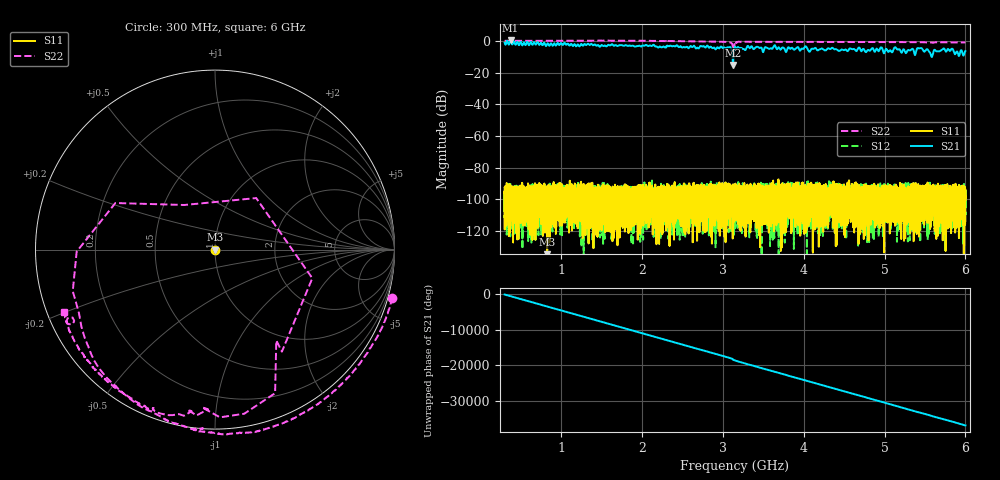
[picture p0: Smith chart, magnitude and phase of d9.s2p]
!Agilent Technologies,N5230C,SG49000117,A.08.50.07
!Agilent N5230C: A.08.50.07
!Date: Sunday, March 17, 2024 05:30:00
!Correction: S11(Off)
!S21(Off)
!S12(Off)
!S22(Full 1 Port(2))
!S2P File: Measurements: S11, S21, S12, S22:
# Hz S  RI  R 50
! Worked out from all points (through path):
!   20001 points, 300 MHz to 6 GHz, reference 50 ohm
!   highest |S21| = 0.44 dB at 373.8 MHz (marker M1); lowest = -15.1 dB at 3.127 GHz (marker M2)
!   lowest |S11| = -147.6 dB at 826.4 MHz (marker M3), VSWR 1.00, Z = 50 - j1.65e-06 ohm
!   |S11| at or under -10 dB: start of sweep to end of sweep
!   |S22| runs from -10.6 to 0.4 dB; largest |S21 - S12| = 1.1
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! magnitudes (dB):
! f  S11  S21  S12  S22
! 300 MHz  -96.0  -1.0  -106.1  0.2
! 373.8 MHz  -101.6  0.4  -98.9  0.2
! 826.4 MHz  -147.6  -1.8  -99.7  0.2
! 1.25 GHz  -98.0  -1.8  -97.0  0.3
! 2.2 GHz  -98.7  -4.1  -98.6  0.2
! 3.073 GHz  -112.1  -3.9  -99.8  -0.6
! 3.127 GHz  -105.3  -15.1  -101.8  -10.1
! 3.15 GHz  -97.0  -3.5  -97.4  -0.6
! 3.164 GHz  -107.9  -4.6  -99.1  -0.7
! 3.212 GHz  -97.5  -4.4  -98.8  -0.3
! 4.019 GHz  -99.5  -3.2  -97.1  -0.5
! 4.1 GHz  -100.2  -4.8  -99.9  -0.5
! 5.05 GHz  -96.0  -6.7  -98.1  -0.6
! 5.139 GHz  -95.2  -4.1  -95.6  -0.6
! 5.373 GHz  -90.8  -8.6  -102.0  -0.6
! 5.433 GHz  -99.4  -4.6  -97.4  -0.7
! 5.535 GHz  -99.7  -5.4  -99.0  -0.7
! 5.577 GHz  -97.9  -9.4  -109.7  -0.8
! 5.72 GHz  -100.7  -5.0  -106.9  -0.7
! 5.83 GHz  -100.8  -4.8  -93.5  -0.8
! 5.898 GHz  -99.0  -6.6  -96.9  -0.8
! 6 GHz  -98.8  -6.3  -98.2  -0.8
